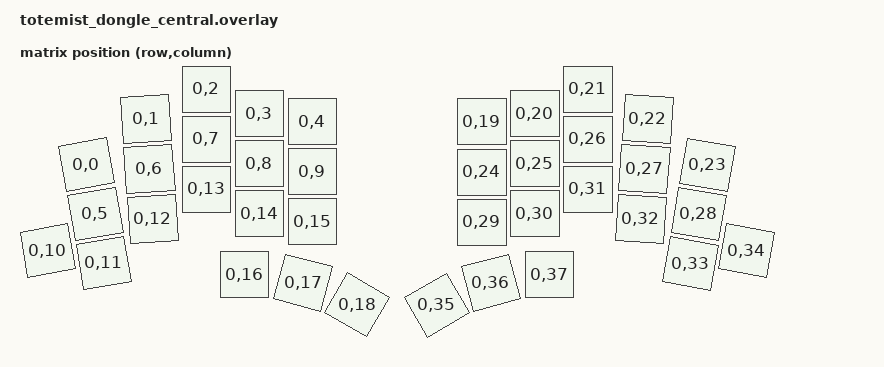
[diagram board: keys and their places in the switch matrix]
#include <physical_layouts.dtsi>
#include <dt-bindings/zmk/matrix_transform.h>
#include <dt-bindings/led/led.h>

/ {
    chosen {
        zmk,kscan = &mock_kscan;
        zmk,physical-layout = &default_layout;
        zephyr,display = &oled;
        zmk,underglow = &led_strip;
    };

    mock_kscan: mock_kscan {
        compatible = "zmk,kscan-mock";
        rows = <0>;
        columns = <0>;
        events = <>;
    };

    /*
     * 38 keys: left 19 (0-18), right 19 (19-37)
     *
     * Row 0 (5+5):  [0..4]   [19..23]
     * Row 1 (5+5):  [5..9]   [24..28]
     * Row 2 (6+6):  [10..15] [29..34]
     * Thumbs (3+3): [16..18] [35..37]
     */
    default_transform: keymap_transform_0 {
        compatible = "zmk,matrix-transform";
        columns = <38>;
        rows = <1>;
        map = <
            RC(0,0)  RC(0,1)  RC(0,2)  RC(0,3)  RC(0,4)            RC(0,19) RC(0,20) RC(0,21) RC(0,22) RC(0,23)
            RC(0,5)  RC(0,6)  RC(0,7)  RC(0,8)  RC(0,9)            RC(0,24) RC(0,25) RC(0,26) RC(0,27) RC(0,28)
            RC(0,10) RC(0,11) RC(0,12) RC(0,13) RC(0,14) RC(0,15)  RC(0,29) RC(0,30) RC(0,31) RC(0,32) RC(0,33) RC(0,34)
                                        RC(0,16) RC(0,17) RC(0,18)  RC(0,35) RC(0,36) RC(0,37)
        >;
    };

    default_layout: default_layout {
        compatible = "zmk,physical-layout";
        display-name = "Default";
        transform = <&default_transform>;
        keys //                     w    h    x    y  rot  rx  ry
            = <&key_physical_attrs 105 100   77 151 (-1000)  130  201> /* Q  */
            , <&key_physical_attrs 105 100  196  60  (-400)  249  110> /* W  */
            , <&key_physical_attrs 105 100  317   0     0    0    0> /* E  */
            , <&key_physical_attrs 105 100  423  49     0    0    0> /* R  */
            , <&key_physical_attrs 105 100  529  65     0    0    0> /* T  */
            , <&key_physical_attrs 105 100  868  65     0    0    0> /* Y  */
            , <&key_physical_attrs 105 100  974  49     0    0    0> /* U  */
            , <&key_physical_attrs 105 100 1080   0     0    0    0> /* I  */
            , <&key_physical_attrs 105 100 1200  60   400 1253  110> /* O  */
            , <&key_physical_attrs 105 100 1319 152  1000 1372  202> /* P  */
            , <&key_physical_attrs 105 100   95 250 (-1000)  147  300> /* A  */
            , <&key_physical_attrs 105 100  203 160  (-400)  256  210> /* S  */
            , <&key_physical_attrs 105 100  317 100     0    0    0> /* D  */
            , <&key_physical_attrs 105 100  423 149     0    0    0> /* F  */
            , <&key_physical_attrs 105 100  529 165     0    0    0> /* G  */
            , <&key_physical_attrs 105 100  868 166     0    0    0> /* H  */
            , <&key_physical_attrs 105 100  974 149     0    0    0> /* J  */
            , <&key_physical_attrs 105 100 1080 100     0    0    0> /* K  */
            , <&key_physical_attrs 105 100 1193 160   400 1246  210> /* L  */
            , <&key_physical_attrs 105 100 1302 250  1000 1355  300> /* ;  */
            , <&key_physical_attrs 105 100    0 323 (-1000)   52  373> /* LB5 (none) */
            , <&key_physical_attrs 105 100  112 348 (-1000)  165  398> /* Z  */
            , <&key_physical_attrs 105 100  210 260  (-400)  263  310> /* X  */
            , <&key_physical_attrs 105 100  317 200     0    0    0> /* C  */
            , <&key_physical_attrs 105 100  423 249     0    0    0> /* V  */
            , <&key_physical_attrs 105 100  529 265     0    0    0> /* B  */
            , <&key_physical_attrs 105 100  868 266     0    0    0> /* N  */
            , <&key_physical_attrs 105 100  974 249     0    0    0> /* M  */
            , <&key_physical_attrs 105 100 1080 200     0    0    0> /* ,  */
            , <&key_physical_attrs 105 100 1186 260   400 1239  310> /* .  */
            , <&key_physical_attrs 105 100 1285 349  1000 1338  399> /* /  */
            , <&key_physical_attrs 105 100 1397 323  1000 1450  373> /* RB5 (none) */
            , <&key_physical_attrs 105 100  393 371     0    0    0> /* lalt */
            , <&key_physical_attrs 105 100  511 387  1500  563  437> /* mo1 */
            , <&key_physical_attrs 105 100  619 432  3000  672  482> /* space */
            , <&key_physical_attrs 105 100  778 432 (-3000)  831  482> /* ret */
            , <&key_physical_attrs 105 100  886 387 (-1500)  939  437> /* mo2 */
            , <&key_physical_attrs 105 100 1003 371     0    0    0> /* ralt */
            ;
    };
};

&pinctrl {
    i2c0_default: i2c0_default {
        group1 {
            psels = <NRF_PSEL(TWIM_SDA, 0, 17)>,
                <NRF_PSEL(TWIM_SCL, 0, 20)>;
        };
    };

    i2c0_sleep: i2c0_sleep {
        group1 {
            psels = <NRF_PSEL(TWIM_SDA, 0, 17)>,
                <NRF_PSEL(TWIM_SCL, 0, 20)>;
            low-power-enable;
        };
    };
};

&i2c0 {
    status = "okay";
    compatible = "nordic,nrf-twi";
    pinctrl-0 = <&i2c0_default>;
    pinctrl-1 = <&i2c0_sleep>;
    oled: sh1106@3c {
        compatible = "sinowealth,sh1106";
        reg = <0x3c>;
        width = <128>;
        height = <64>;
        segment-offset = <2>;
        page-offset = <0>;
        display-offset = <0>;
        multiplex-ratio = <63>;
        segment-remap;
        com-invdir;
        inversion-on;
        prechargep = <0x22>;
    };
};

&pinctrl {
    spi3_default: spi3_default {
        group1 {
            psels = <NRF_PSEL(SPIM_MOSI, 1, 4)>;
        };
    };

    spi3_sleep: spi3_sleep {
        group1 {
            psels = <NRF_PSEL(SPIM_MOSI, 1, 4)>;
            low-power-enable;
        };
    };
};

&spi3 {
    compatible = "nordic,nrf-spim";
    status = "okay";
    pinctrl-0 = <&spi3_default>;
    pinctrl-1 = <&spi3_sleep>;
    pinctrl-names = "default", "sleep";

    led_strip: ws2812@0 {
        compatible = "worldsemi,ws2812-spi";
        reg = <0>;
        spi-max-frequency = <4000000>;
        chain-length = <1>;
        spi-one-frame = <0x70>;
        spi-zero-frame = <0x40>;
        color-mapping = <
            LED_COLOR_ID_GREEN
            LED_COLOR_ID_RED
            LED_COLOR_ID_BLUE
        >;
    };
};
